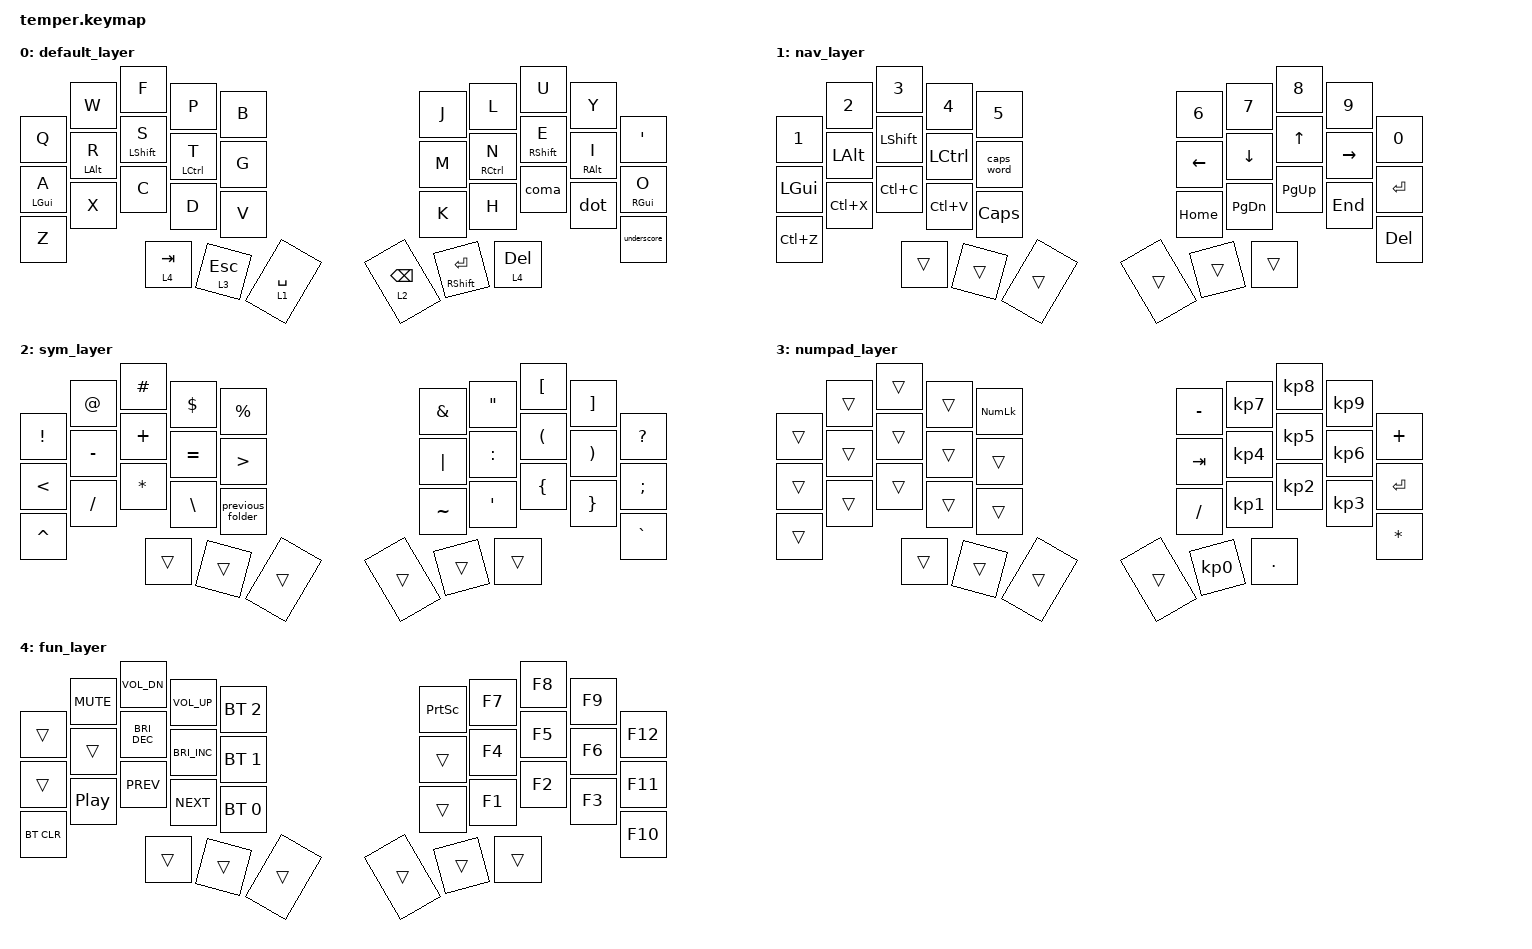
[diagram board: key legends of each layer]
/*
 * Copyright (c) 2020 The ZMK Contributors
 *
 * SPDX-License-Identifier: MIT
 */

#include <behaviors.dtsi>
#include <dt-bindings/zmk/bt.h>
#include <dt-bindings/zmk/keys.h>

#define DEFAULT 0
#define NAV 1
#define SYM 2
#define FUN 3

/ {
    behaviors {
        hml: homerow_mod_left {
            compatible = "zmk,behavior-hold-tap";
            #binding-cells = <2>;
            flavor = "tap-preferred";
            tapping-term-ms = <200>;
            quick-tap-ms = <200>;
            require-prior-idle-ms = <200>;
            bindings = <&kp>, <&kp>;

            hold-trigger-key-positions = <5 6 8 7 9 18 17 16 15 25 26 27 28 29 19 30 31 32 33 34 35>;
            hold-trigger-on-release;
        };

        hmr: homerow_mod_right {
            compatible = "zmk,behavior-hold-tap";
            #binding-cells = <2>;
            flavor = "tap-preferred";
            tapping-term-ms = <200>;
            quick-tap-ms = <200>;
            require-prior-idle-ms = <200>;
            bindings = <&kp>, <&kp>;

            hold-trigger-key-positions = <0 1 2 3 4 14 13 12 11 10 20 21 22 23 24 30 31 32 33 34 35>;
            hold-trigger-on-release;
        };

        lht: layer_hold_tap {
            compatible = "zmk,behavior-hold-tap";
            bindings = <&mo>, <&kp>;

            #binding-cells = <2>;
            quick-tap-ms = <200>;
            tapping-term-ms = <200>;
            flavor = "balanced";
        };

        coma: coma_semicolon {
            compatible = "zmk,behavior-mod-morph";
            label = "COMA";
            bindings = <&kp COMMA>, <&kp SEMICOLON>;

            #binding-cells = <0>;
            mods = <(MOD_LSFT|MOD_RSFT)>;
        };

        dot: dot_colon {
            compatible = "zmk,behavior-mod-morph";
            label = "DOT";
            bindings = <&kp DOT>, <&kp COLON>;

            #binding-cells = <0>;
            mods = <(MOD_LSFT|MOD_RSFT)>;
        };

        underscore: underscore_minus {
            compatible = "zmk,behavior-mod-morph";
            label = "UNDERSCORE";
            bindings = <&kp UNDERSCORE>, <&kp MINUS>;

            #binding-cells = <0>;
            mods = <(MOD_LSFT|MOD_RSFT)>;
        };

        htg: hold_tap_generic {
            compatible = "zmk,behavior-hold-tap";
            label = "HTG";
            bindings = <&kp>, <&kp>;

            #binding-cells = <2>;
            quick-tap-ms = <200>;
            tapping-term-ms = <200>;
            flavor = "balanced";
        };
    };

    combos {
        compatible = "zmk,combos";

        combo_accent_acute {
            bindings = <&kp LC(SQT)>;
            key-positions = <6 7>;
            require-prior-idle-ms = <200>;
        };

        combo_accent_grave {
            bindings = <&kp LC(GRAVE)>;
            key-positions = <7 8>;
            require-prior-idle-ms = <200>;
        };

        combo_accent_dots {
            bindings = <&kp LC(COLON)>;
            key-positions = <6 8>;
            require-prior-idle-ms = <200>;
        };

        combo_accent_round {
            bindings = <&kp LC(AT)>;
            key-positions = <6 7 8>;
            require-prior-idle-ms = <200>;
        };

        combo_tab_left {
            bindings = <&kp LC(PAGE_UP)>;
            key-positions = <26 27>;
            layers = <1>;
        };

        combo_tab_right {
            bindings = <&kp LC(PAGE_DOWN)>;
            key-positions = <27 28>;
            layers = <1>;
        };

        combo_esc {
            bindings = <&kp ESC>;
            key-positions = <1 2>;
        };

        combo_tab {
            bindings = <&kp TAB>;
            key-positions = <11 12>;
        };

        combo_enter {
            bindings = <&kp ENTER>;
            key-positions = <17 18>;
        };

        combo_sk_lshift {
            bindings = <&sk LSHFT>;
            key-positions = <12 13>;
        };

        combo_sk_rshift {
            bindings = <&sk RSHFT>;
            key-positions = <16 17>;
        };

        combo_toggle_numpad {
            bindings = <&tog 3>;
            key-positions = <26 27 28>;
        };
    };

    macros {
        previous_folder: previous_folder {
            compatible = "zmk,behavior-macro";
            #binding-cells = <0>;
            bindings = <&kp DOT &kp DOT &kp BSLH>;
            label = "PREVIOUS_FOLDER";
        };
    };

    keymap {
        compatible = "zmk,keymap";

        default_layer {
            bindings = <
  &kp Q        &kp W        &kp F          &kp P          &kp B           &kp J             &kp L                   &kp U          &kp Y        &kp APOS
  &hml LGUI A  &hml LALT R  &hml LSHIFT S  &hml LCTRL T   &kp G           &kp M             &hmr RCTRL N            &hmr RSHIFT E  &hmr RALT I  &hmr RGUI O
  &kp Z        &kp X        &kp C          &kp D          &kp V           &kp K             &kp H                   &coma          &dot         &underscore
                            &lht 4 TAB     &lht 3 ESCAPE  &lht 1 SPACE    &lht 2 BACKSPACE  &htg RIGHT_SHIFT ENTER  &lht 4 DELETE
            >;
        };

        nav_layer {
            bindings = <
  &kp N1     &kp N2     &kp N3     &kp N4     &kp N5          &kp N6    &kp N7     &kp N8     &kp N9     &kp N0
  &kp LGUI   &kp LALT   &kp LSHFT  &kp LCTRL  &caps_word      &kp LEFT  &kp DOWN   &kp UP     &kp RIGHT  &kp ENTER
  &kp LC(Z)  &kp LC(X)  &kp LC(C)  &kp LC(V)  &kp CAPSLOCK    &kp HOME  &kp PG_DN  &kp PG_UP  &kp END    &kp DELETE
                        &trans     &trans     &trans          &trans    &trans     &trans
            >;
        };

        sym_layer {
            bindings = <
  &kp EXCL       &kp AT     &kp HASH      &kp DLLR   &kp PRCNT           &kp AMPS   &kp DOUBLE_QUOTES  &kp LBKT  &kp RBKT  &kp QMARK
  &kp LESS_THAN  &kp MINUS  &kp PLUS      &kp EQUAL  &kp GREATER_THAN    &kp PIPE   &kp COLON          &kp LPAR  &kp RPAR  &kp SEMICOLON
  &kp CARET      &kp SLASH  &kp ASTERISK  &kp BSLH   &previous_folder    &kp TILDE  &kp SINGLE_QUOTE   &kp LBRC  &kp RBRC  &kp GRAVE
                            &trans        &trans     &trans              &trans     &trans             &trans
            >;
        };

        numpad_layer {
            bindings = <
  &trans  &trans  &trans  &trans  &kp KP_NUMLOCK    &kp MINUS  &kp KP_N7        &kp KP_N8  &kp KP_N9  &kp PLUS
  &trans  &trans  &trans  &trans  &trans            &kp TAB    &kp KP_N4        &kp KP_N5  &kp KP_N6  &kp ENTER
  &trans  &trans  &trans  &trans  &trans            &kp SLASH  &kp KP_N1        &kp KP_N2  &kp KP_N3  &kp ASTERISK
                  &trans  &trans  &trans            &trans     &kp KP_NUMBER_0  &kp DOT
            >;
        };

        fun_layer {
            bindings = <
  &trans      &kp C_MUTE  &kp C_VOL_DN          &kp C_VOL_UP          &bt BT_SEL 2    &kp PSCRN  &kp F7  &kp F8  &kp F9  &kp F12
  &trans      &trans      &kp C_BRIGHTNESS_DEC  &kp C_BRIGHTNESS_INC  &bt BT_SEL 1    &trans     &kp F4  &kp F5  &kp F6  &kp F11
  &bt BT_CLR  &kp C_PP    &kp C_PREV            &kp C_NEXT            &bt BT_SEL 0    &trans     &kp F1  &kp F2  &kp F3  &kp F10
                          &trans                &trans                &trans          &trans     &trans  &trans
            >;
        };
    };

    conditional_layers { compatible = "zmk,conditional-layers"; };
};
